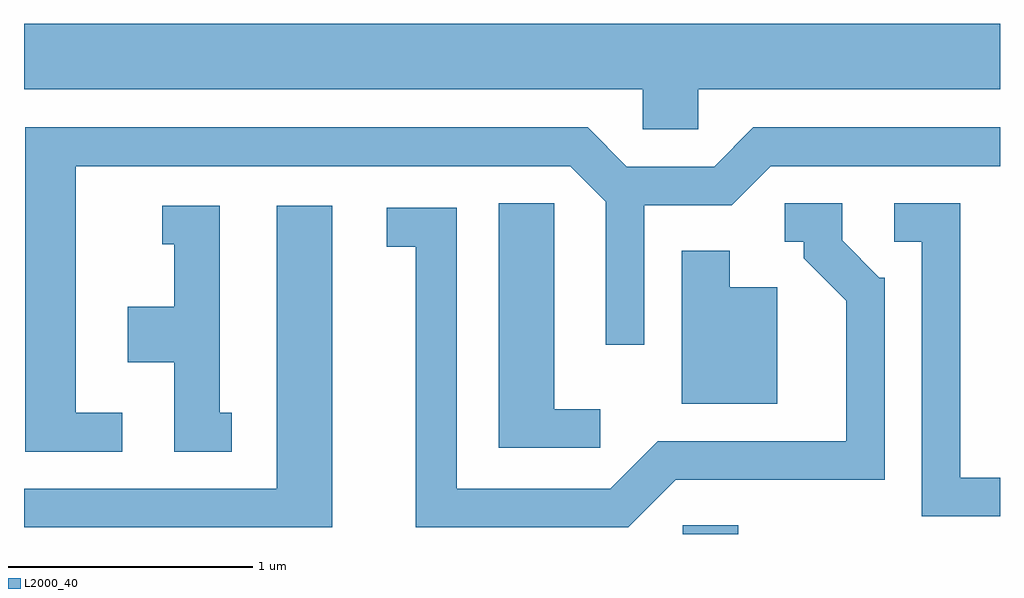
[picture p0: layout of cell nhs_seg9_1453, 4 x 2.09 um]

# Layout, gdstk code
import gdstk
lib = gdstk.Library(unit=1e-6, precision=1e-09)
def R(c, l, rs):  # rectangles x0, y0, x1, y1
    for r in rs: c.add(gdstk.rectangle(r[:2], r[2:], *l))
def P(c, l, *ps):  # polygons
    for p in ps: c.add(gdstk.Polygon(p, *l))
L2000_40 = (2000, 40)

nhs_seg9_1453 = lib.new_cell('nhs_seg9_1453')
R(nhs_seg9_1453, L2000_40, [(230.311,1994.432,230.539,1994.469)])
P(nhs_seg9_1453, L2000_40, [(230.374,1996.256),(231.611,1996.256),(231.611,1996.524),(227.611,1996.524),(227.611,1996.256),(230.146,1996.256),(230.146,1996.091),(230.374,1996.091)],
  [(228.013,1994.929),(227.824,1994.929),(227.824,1995.941),(229.849,1995.941),(229.996,1995.794),(229.996,1995.208),(230.154,1995.208),(230.154,1995.781),(230.512,1995.781),(230.672,1995.941),(231.611,1995.941),(231.611,1996.099),(230.599,1996.099),(230.439,1995.939),(230.082,1995.939),(229.922,1996.099),(227.616,1996.099),(227.616,1994.771),(228.013,1994.771)],
  [(229.973,1994.944),(229.784,1994.944),(229.784,1995.789),(229.556,1995.789),(229.556,1994.786),(229.973,1994.786)],
  [(230.282,1994.656),(231.139,1994.656),(231.139,1995.484),(231.117,1995.484),(230.964,1995.637),(230.964,1995.789),(230.728,1995.789),(230.728,1995.631),(230.806,1995.631),(230.806,1995.564),(230.981,1995.389),(230.981,1994.814),(230.209,1994.814),(230.014,1994.619),(229.384,1994.619),(229.384,1995.769),(229.098,1995.769),(229.098,1995.611),(229.216,1995.611),(229.216,1994.461),(230.087,1994.461)],
  [(231.611,1994.664),(231.449,1994.664),(231.449,1995.789),(231.178,1995.789),(231.178,1995.631),(231.291,1995.631),(231.291,1994.506),(231.611,1994.506)],
  [(228.874,1995.779),(228.646,1995.779),(228.646,1994.619),(227.611,1994.619),(227.611,1994.461),(228.874,1994.461)],
  [(228.463,1994.929),(228.414,1994.929),(228.414,1995.779),(228.178,1995.779),(228.178,1995.621),(228.226,1995.621),(228.226,1995.364),(228.036,1995.364),(228.036,1995.136),(228.226,1995.136),(228.226,1994.771),(228.463,1994.771)],
  [(230.699,1995.444),(230.504,1995.444),(230.504,1995.594),(230.306,1995.594),(230.306,1994.966),(230.699,1994.966)])

lib.write_gds('nhs_seg9_1453.gds')
